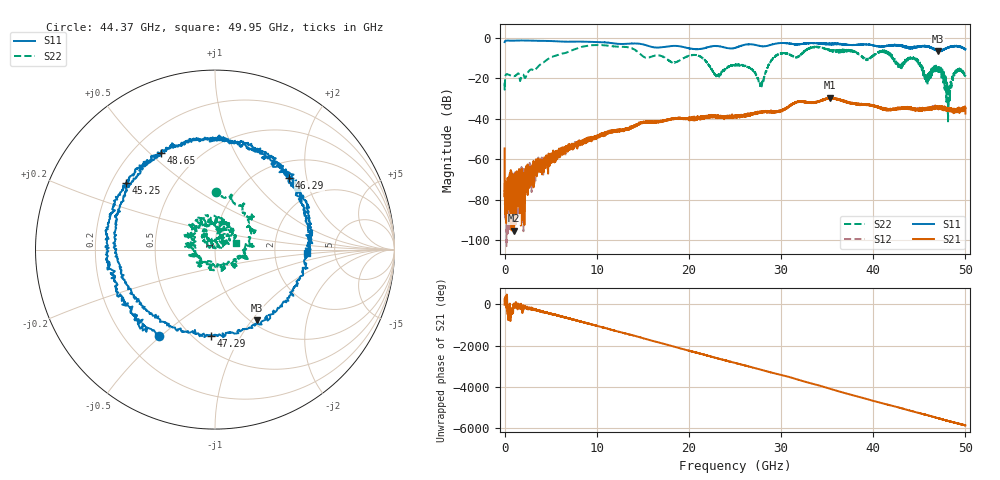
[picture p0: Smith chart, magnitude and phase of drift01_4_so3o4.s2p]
!Created with skrf (http://scikit-rf.org).
# Hz S RI R 50.0
!freq ReS11 ImS11 ReS21 ImS21 ReS12 ImS12 ReS22 ImS22
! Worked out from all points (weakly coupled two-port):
!   10001 points, 300 kHz to 50 GHz, reference 50 ohm
!   highest |S21| = -29.55 dB at 35.26 GHz (marker M1); lowest = -95.2 dB at 1.03 GHz (marker M2)
!   lowest |S11| = -6.8 dB at 47.07 GHz (marker M3), VSWR 2.69, Z = 53.4 - j53.1 ohm
!   |S11| at or under -10 dB: nowhere
!   |S22| runs from -42.3 to -3.6 dB; largest |S21 - S12| = 0.0051
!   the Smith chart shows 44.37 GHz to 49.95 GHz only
!   S11 on the Smith chart (normalised r, x): 44.37 GHz: 0.34, -0.49; 45.25 GHz: 0.26, +0.31; 46.29 GHz: 1.33, +1.59; 47.29 GHz: 0.60, -0.76; 48.65 GHz: 0.31, +0.54; 49.95 GHz: 3.10, -0.17
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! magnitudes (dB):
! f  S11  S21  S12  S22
! 300 kHz  -2.2  -54.6  -62.7  -22.2
! 255.3 MHz  -1.4  -71.4  -76.5  -18.0
! 1.03 GHz  -1.5  -95.2  -71.5  -19.0
! 8.335 GHz  -1.9  -51.3  -52.1  -4.5
! 16.67 GHz  -4.9  -41.3  -41.8  -8.7
! 20.96 GHz  -5.6  -39.0  -39.5  -8.7
! 23.07 GHz  -4.1  -39.0  -38.6  -18.6
! 25 GHz  -5.0  -38.5  -39.1  -13.6
! 27.83 GHz  -4.2  -36.8  -36.7  -22.5
! 29.47 GHz  -2.9  -36.4  -36.7  -8.8
! 33.34 GHz  -2.6  -32.2  -32.1  -4.7
! 35.26 GHz  -3.0  -29.6  -29.8  -6.0
! 41.67 GHz  -3.9  -35.2  -35.8  -7.8
! 44.37 GHz  -4.8  -35.5  -35.4  -9.8
! 45.25 GHz  -4.2  -35.7  -35.2  -14.9
! 46.29 GHz  -4.8  -34.8  -34.7  -15.6
! 47.07 GHz  -6.8  -34.4  -34.5  -16.9
! 47.29 GHz  -6.3  -34.6  -34.5  -16.1
! 48.13 GHz  -4.8  -35.3  -35.4  -35.9
! 48.65 GHz  -4.2  -35.8  -36.1  -20.5
! 49.95 GHz  -5.8  -34.0  -34.5  -18.2
! 50 GHz  -5.6  -37.4  -34.7  -18.4
